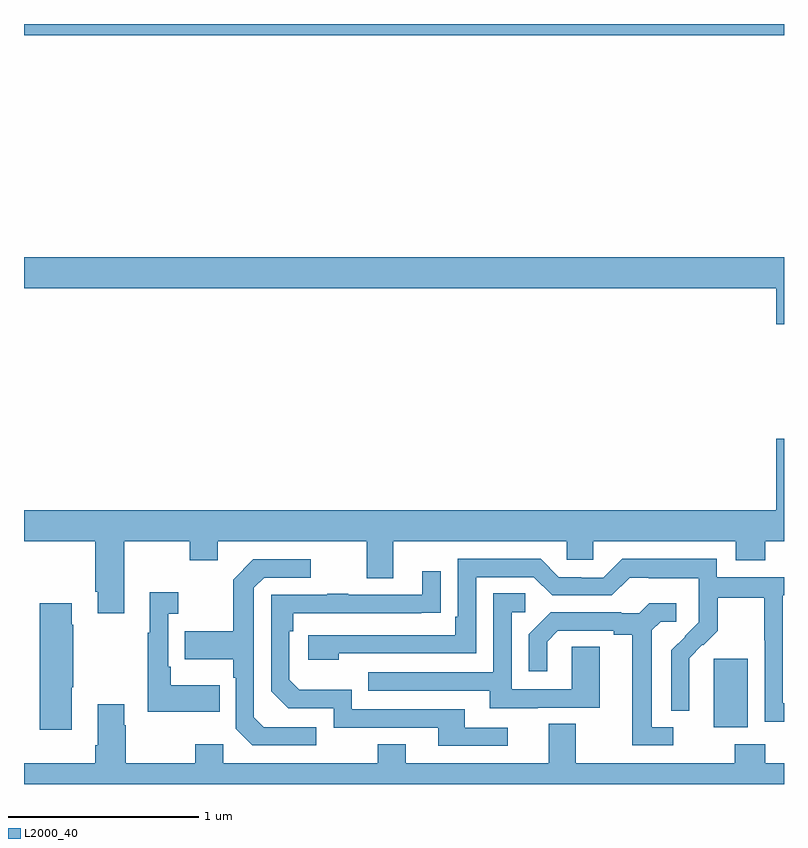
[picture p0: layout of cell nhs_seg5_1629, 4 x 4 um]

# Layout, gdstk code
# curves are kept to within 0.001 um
import gdstk
lib = gdstk.Library(unit=1e-6, precision=1e-09)
def R(c, l, rs):  # rectangles x0, y0, x1, y1
    for r in rs: c.add(gdstk.rectangle(r[:2], r[2:], *l))
def P(c, l, *ps):  # polygons
    for p in ps: c.add(gdstk.Polygon(p, *l))
L2000_40 = (2000, 40)

nhs_seg5_1629 = lib.new_cell('nhs_seg5_1629')
R(nhs_seg5_1629, L2000_40, [(212.63,873.098,212.809,873.459), (209,876.74,213,876.799)])
P(nhs_seg5_1629, L2000_40, [(213,875.572),(209,875.572),(209,875.408),(212.96,875.408),(212.96,875.22),(213,875.22)],
  [(209.527,874.076),(209.872,874.076),(209.872,873.977),(210.019,873.977),(210.019,874.076),(210.803,874.076),(210.803,873.882),(210.943,873.882),(210.943,874.076),(211.857,874.076),(211.857,873.978),(211.995,873.978),(211.995,874.076),(212.747,874.076),(212.747,873.977),(212.9,873.977),(212.9,874.076),(213,874.076),(213,874.615),(212.96,874.615),(212.96,874.24),(209,874.24),(209,874.076),(209.375,874.076),(209.375,873.811),(209.387,873.811),(209.387,873.699),(209.527,873.699)],
  [(213,873.225),(212.994,873.225),(212.994,873.792),(213,873.792),(213,873.888),(212.646,873.888),(212.646,873.985),(212.149,873.985),(212.049,873.885),(211.934,873.885),(211.934,873.888),(211.815,873.888),(211.719,873.984),(211.284,873.984),(211.284,873.679),(211.271,873.679),(211.271,873.582),(210.495,873.582),(210.495,873.452),(210.656,873.452),(210.656,873.486),(211.38,873.486),(211.38,873.888),(211.683,873.888),(211.779,873.792),(212.094,873.792),(212.187,873.885),(212.287,873.885),(212.287,873.881),(212.55,873.881),(212.55,873.747),(212.552,873.747),(212.552,873.65),(212.406,873.502),(212.406,873.184),(212.502,873.184),(212.501,873.461),(212.571,873.531),(212.574,873.528),(212.651,873.605),(212.651,873.78),(212.896,873.78),(212.896,873.556),(212.898,873.556),(212.898,873.127),(213,873.127)],
  [(210.538,873.099),(210.261,873.099),(210.21,873.15),(210.21,873.831),(210.264,873.885),(210.508,873.885),(210.508,873.981),(210.207,873.981),(210.102,873.875),(210.102,873.603),(209.845,873.603),(209.845,873.455),(210.102,873.455),(210.102,873.359),(210.114,873.359),(210.114,873.09),(210.201,873.003),(210.538,873.003)],
  [(211.546,873.096),(211.321,873.096),(211.321,873.192),(210.726,873.192),(210.726,873.295),(210.449,873.295),(210.396,873.348),(210.396,873.602),(210.416,873.602),(210.416,873.699),(211.193,873.7),(211.193,873.919),(211.097,873.919),(211.097,873.795),(210.707,873.795),(210.707,873.8),(210.595,873.8),(210.595,873.795),(210.3,873.795),(210.3,873.288),(210.39,873.198),(210.63,873.198),(210.63,873.096),(211.181,873.096),(211.181,873),(211.546,873)],
  [(210.029,873.319),(209.773,873.319),(209.773,873.415),(209.76,873.415),(209.76,873.695),(209.812,873.695),(209.812,873.808),(209.663,873.808),(209.663,873.595),(209.652,873.595),(209.652,873.179),(210.029,873.179)],
  [(211.705,873.201),(212.029,873.201),(212.029,873.521),(211.884,873.521),(211.884,873.297),(211.566,873.297),(211.566,873.702),(211.639,873.702),(211.639,873.803),(211.47,873.803),(211.47,873.387),(210.811,873.387),(210.811,873.291),(211.451,873.291),(211.451,873.197),(211.705,873.197)],
  [(209.251,873.307),(209.259,873.307),(209.259,873.638),(209.251,873.638),(209.251,873.751),(209.084,873.751),(209.084,873.084),(209.251,873.084)],
  [(212.416,873.099),(212.305,873.099),(212.305,873.607),(212.352,873.654),(212.434,873.654),(212.434,873.751),(212.29,873.751),(212.238,873.699),(212.144,873.699),(212.144,873.702),(211.772,873.702),(211.656,873.586),(211.656,873.393),(211.753,873.393),(211.753,873.549),(211.81,873.606),(212.105,873.606),(212.105,873.584),(212.201,873.584),(212.201,873.003),(212.416,873.003)],
  [(213,872.908),(212.9,872.908),(212.9,873.007),(212.74,873.007),(212.74,872.908),(211.903,872.908),(211.903,873.116),(211.763,873.116),(211.763,872.908),(211.009,872.908),(211.009,873.007),(210.862,873.007),(210.862,872.908),(210.048,872.908),(210.048,873.007),(209.902,873.007),(209.902,872.908),(209.535,872.908),(209.535,873.107),(209.527,873.107),(209.527,873.22),(209.387,873.22),(209.387,873.004),(209.375,873.004),(209.375,872.908),(209,872.908),(209,872.799),(213,872.799)])

lib.write_gds('nhs_seg5_1629.gds')
